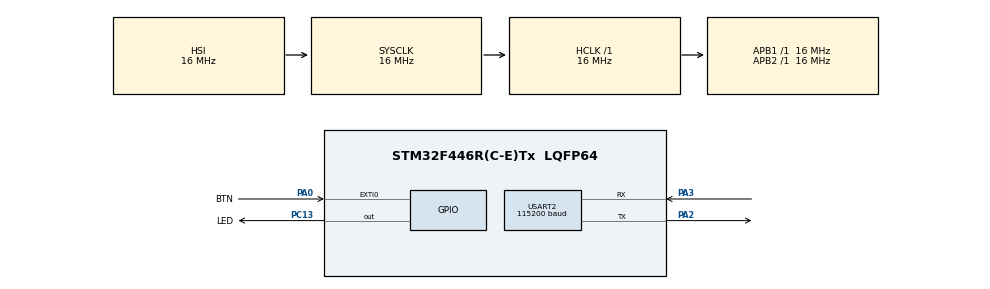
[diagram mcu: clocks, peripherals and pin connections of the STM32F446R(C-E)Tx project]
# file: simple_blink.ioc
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Mcu.Family=STM32F4
Mcu.Name=STM32F446R(C-E)Tx
Mcu.Package=LQFP64
NVIC.PriorityGroup=NVIC_PRIORITYGROUP_4
PA0-WKUP.GPIO_Label=BTN
PA0-WKUP.GPIO_ModeDefaultEXTI=GPIO_MODE_IT_RISING_FALLING
PA0-WKUP.GPIO_PuPd=GPIO_PULLUP
PA0-WKUP.Signal=GPXTI0
PA13.Mode=Trace_Asynchronous_SW
PA13.Signal=SYS_JTMS-SWDIO
PA14.Mode=Trace_Asynchronous_SW
PA14.Signal=SYS_JTCK-SWCLK
PA2.Mode=Asynchronous
PA2.Signal=USART2_TX
PA3.Mode=Asynchronous
PA3.Signal=USART2_RX
PB3.Mode=Trace_Asynchronous_SW
PB3.Signal=SYS_JTDO-SWO
PC13.GPIO_Label=LED
PC13.GPIO_ModeDefaultOutputPP=GPIO_MODE_OUTPUT_OD
PC13.GPIO_PuPd=GPIO_NOPULL
PC13.PinState=GPIO_PIN_SET
PC13.Signal=GPIO_Output
PH0-OSC_IN.Mode=HSE-External-Oscillator
PH0-OSC_IN.Signal=RCC_OSC_IN
PH1-OSC_OUT.Mode=HSE-External-Oscillator
PH1-OSC_OUT.Signal=RCC_OSC_OUT
ProjectManager.HeapSize=0x200
ProjectManager.StackSize=0x400
ProjectManager.TargetToolchain=STM32CubeIDE
RCC.AHBFreq_Value=16000000
RCC.APB1Freq_Value=16000000
RCC.APB1TimFreq_Value=16000000
RCC.APB2Freq_Value=16000000
RCC.APB2TimFreq_Value=16000000
RCC.CortexFreq_Value=16000000
RCC.HCLKFreq_Value=16000000
RCC.SYSCLKFreq_VALUE=16000000
RCC.USBFreq_Value=96000000
RCC.VCOOutputFreq_Value=192000000
USART2.BaudRate=115200
USART2.VirtualMode=VM_ASYNC
board=custom

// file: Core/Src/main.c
/* USER CODE BEGIN Header */
/**
  ******************************************************************************
  * @file           : main.c
  * @brief          : Main program body
  ******************************************************************************
  * @attention
  *
  * Copyright (c) 2026 STMicroelectronics.
  * All rights reserved.
  *
  * This software is licensed under terms that can be found in the LICENSE file
  * in the root directory of this software component.
  * If no LICENSE file comes with this software, it is provided AS-IS.
  *
  ******************************************************************************
  */
/* USER CODE END Header */
#include "main.h"

/* USER CODE BEGIN Includes */
#include <stdio.h>
/* USER CODE END Includes */

UART_HandleTypeDef huart2;

void SystemClock_Config(void);
static void MX_GPIO_Init(void);
static void MX_USART2_UART_Init(void);

/* USER CODE BEGIN 0 */

// Send printf to uart2
int _write(int fd, char* ptr, int len) {
  HAL_StatusTypeDef hstatus;

  if (fd == 1 || fd == 2) {
    hstatus = HAL_UART_Transmit(&huart2, (uint8_t *) ptr, len, HAL_MAX_DELAY);
    if (hstatus == HAL_OK)
      return len;
    else
      return -1;
  }
  return -1;
}
/* USER CODE END 0 */

int main(void)
{

  /* MCU Configuration--------------------------------------------------------*/

  /* Reset of all peripherals, Initializes the Flash interface and the Systick. */
  HAL_Init();

  /* Configure the system clock */
  SystemClock_Config();

  /* Initialize all configured peripherals */
  MX_GPIO_Init();
  MX_USART2_UART_Init();
  /* USER CODE BEGIN 2 */

  printf("First application starting\n\r");

  /* USER CODE END 2 */

  /* Infinite loop */
  /* USER CODE BEGIN WHILE */

  uint32_t now = 0, last_print = 0;

  while (1)
  {

	  now = HAL_GetTick();

	  if (now - last_print >= 1000) {
		  printf("Loop %lu\n\r", now);
		  last_print = now;
	  }

	  /* USER CODE END WHILE */

  }
}

void SystemClock_Config(void)
{
  RCC_OscInitTypeDef RCC_OscInitStruct = {0};
  RCC_ClkInitTypeDef RCC_ClkInitStruct = {0};

  /** Configure the main internal regulator output voltage
  */
  __HAL_RCC_PWR_CLK_ENABLE();
  __HAL_PWR_VOLTAGESCALING_CONFIG(PWR_REGULATOR_VOLTAGE_SCALE3);

  /** Initializes the RCC Oscillators according to the specified parameters
  * in the RCC_OscInitTypeDef structure.
  */
  RCC_OscInitStruct.OscillatorType = RCC_OSCILLATORTYPE_HSI;
  RCC_OscInitStruct.HSIState = RCC_HSI_ON;
  RCC_OscInitStruct.HSICalibrationValue = RCC_HSICALIBRATION_DEFAULT;
  RCC_OscInitStruct.PLL.PLLState = RCC_PLL_NONE;
  if (HAL_RCC_OscConfig(&RCC_OscInitStruct) != HAL_OK)
  {
    Error_Handler();
  }

  /** Initializes the CPU, AHB and APB buses clocks
  */
  RCC_ClkInitStruct.ClockType = RCC_CLOCKTYPE_HCLK|RCC_CLOCKTYPE_SYSCLK
                              |RCC_CLOCKTYPE_PCLK1|RCC_CLOCKTYPE_PCLK2;
  RCC_ClkInitStruct.SYSCLKSource = RCC_SYSCLKSOURCE_HSI;
  RCC_ClkInitStruct.AHBCLKDivider = RCC_SYSCLK_DIV1;
  RCC_ClkInitStruct.APB1CLKDivider = RCC_HCLK_DIV1;
  RCC_ClkInitStruct.APB2CLKDivider = RCC_HCLK_DIV1;

  if (HAL_RCC_ClockConfig(&RCC_ClkInitStruct, FLASH_LATENCY_0) != HAL_OK)
  {
    Error_Handler();
  }
}

static void MX_USART2_UART_Init(void)
{

  huart2.Instance = USART2;
  huart2.Init.BaudRate = 115200;
  huart2.Init.WordLength = UART_WORDLENGTH_8B;
  huart2.Init.StopBits = UART_STOPBITS_1;
  huart2.Init.Parity = UART_PARITY_NONE;
  huart2.Init.Mode = UART_MODE_TX_RX;
  huart2.Init.HwFlowCtl = UART_HWCONTROL_NONE;
  huart2.Init.OverSampling = UART_OVERSAMPLING_16;
  if (HAL_UART_Init(&huart2) != HAL_OK)
  {
    Error_Handler();
  }

}

static void MX_GPIO_Init(void)
{
  GPIO_InitTypeDef GPIO_InitStruct = {0};

  /* GPIO Ports Clock Enable */
  __HAL_RCC_GPIOC_CLK_ENABLE();
  __HAL_RCC_GPIOH_CLK_ENABLE();
  __HAL_RCC_GPIOA_CLK_ENABLE();
  __HAL_RCC_GPIOB_CLK_ENABLE();

  /*Configure GPIO pin Output Level */
  HAL_GPIO_WritePin(LED_GPIO_Port, LED_Pin, GPIO_PIN_SET);

  /*Configure GPIO pin : LED_Pin */
  GPIO_InitStruct.Pin = LED_Pin;
  GPIO_InitStruct.Mode = GPIO_MODE_OUTPUT_OD;
  GPIO_InitStruct.Pull = GPIO_NOPULL;
  GPIO_InitStruct.Speed = GPIO_SPEED_FREQ_LOW;
  HAL_GPIO_Init(LED_GPIO_Port, &GPIO_InitStruct);

  /*Configure GPIO pin : BTN_Pin */
  GPIO_InitStruct.Pin = BTN_Pin;
  GPIO_InitStruct.Mode = GPIO_MODE_IT_RISING_FALLING;
  GPIO_InitStruct.Pull = GPIO_PULLUP;
  HAL_GPIO_Init(BTN_GPIO_Port, &GPIO_InitStruct);

}

void Error_Handler(void)
{
  __disable_irq();
  while (1)
  {
  }
}
